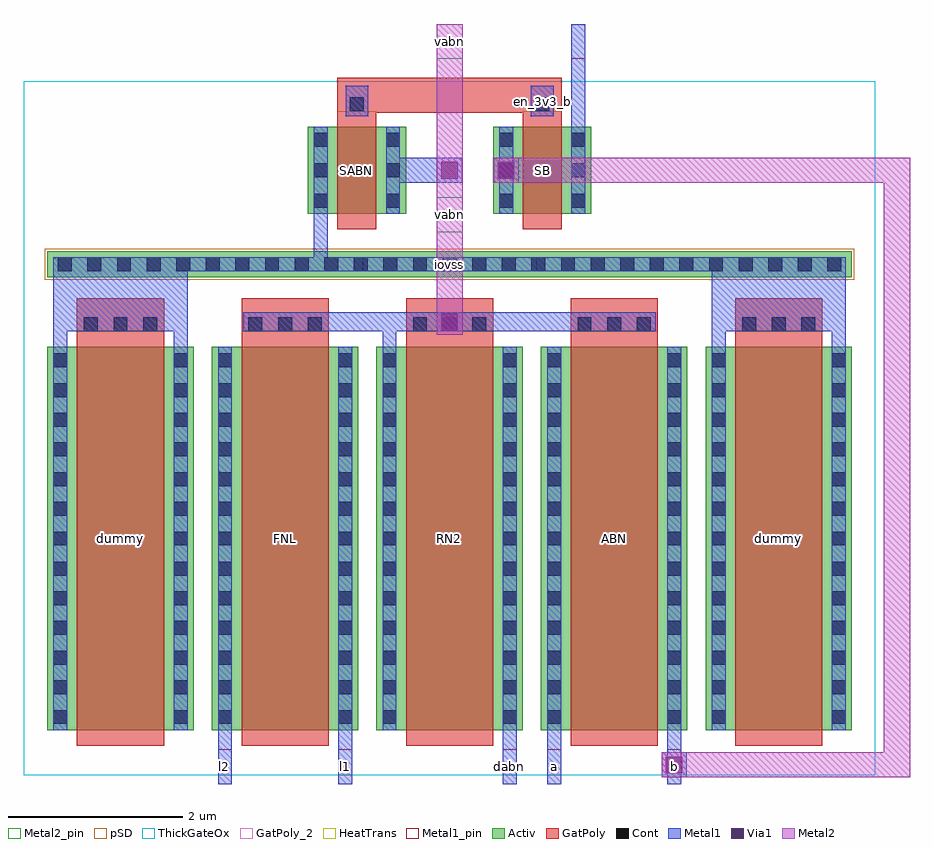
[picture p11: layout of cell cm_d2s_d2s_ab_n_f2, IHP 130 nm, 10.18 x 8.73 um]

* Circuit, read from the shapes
.subckt cm_d2s_d2s_ab_n_f2 a b dabn en_3v3_b iovss l1 l2 vabn
XM1 iovss iovss iovss iovss sg13_hv_nmos w=4.4u l=1u m=2
XM2 l1 vabn l2 iovss sg13_hv_nmos w=4.4u l=1u
XM3 vabn en_3v3_b iovss iovss sg13_hv_nmos w=1u l=0.45u
XM4 dabn vabn vabn iovss sg13_hv_nmos w=4.4u l=1u
XM5 n1 en_3v3_b b iovss sg13_hv_nmos w=1u l=0.45u
XM6 b vabn a iovss sg13_hv_nmos w=4.4u l=1u
.ends

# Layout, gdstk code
import gdstk
lib = gdstk.Library(unit=1e-6, precision=1e-09)
def R(c, l, rs):  # rectangles x0, y0, x1, y1
    for r in rs: c.add(gdstk.rectangle(r[:2], r[2:], *l))
def A(c, l, x, y, w, h, nx, ny, dx, dy):  # array of equal rectangles
    R(c, l, [(x+i*dx, y+j*dy, x+i*dx+w, y+j*dy+h) for i in range(nx) for j in range(ny)])
Activ = (1, 0)
GatPoly = (5, 0)
GatPoly_2 = (5, 2)
Cont = (6, 0)
Metal1 = (8, 0)
Metal1_pin = (8, 2)
Metal2 = (10, 0)
Metal2_pin = (10, 2)
pSD = (14, 0)
Via1 = (19, 0)
ThickGateOx = (44, 0)
HeatTrans = (51, 0)

cm_d2s_nmoshv_1 = lib.new_cell('cm_d2s_nmosHV_1')
R(cm_d2s_nmoshv_1, Activ, [(0,0,0.3,0.3), (0,0,1.13,1), (0.83,0,1.13,0.3)])
R(cm_d2s_nmoshv_1, GatPoly, [(0.34,-0.18,0.79,1.18)])
R(cm_d2s_nmoshv_1, GatPoly_2, [(0.34,-0.18,0.79,1.18)])
A(cm_d2s_nmoshv_1, Cont, 0.07, 0.07, 0.16, 0.16, 1, 3, 0, 0.35)
A(cm_d2s_nmoshv_1, Cont, 0.9, 0.07, 0.16, 0.16, 1, 3, 0, 0.35)
R(cm_d2s_nmoshv_1, Metal1, [(0.07,0,0.23,1), (0.9,0,1.06,1)])
R(cm_d2s_nmoshv_1, Metal1_pin, [(0.07,0,0.23,1), (0.9,0,1.06,1)])
R(cm_d2s_nmoshv_1, ThickGateOx, [(-0.27,-0.52,1.4,1.52)])
R(cm_d2s_nmoshv_1, HeatTrans, [(0.34,-0.18,0.79,1.18)])
cm_d2s_nmoshv_1.add(gdstk.Label('nmosHV', (0.565,0.5), layer=63, texttype=0))
cm_d2s_nmoshv_1.add(gdstk.Label('nmosHV', (0.565,0.5), layer=51, texttype=0))

cm_d2s_nmoshv = lib.new_cell('cm_d2s_nmosHV')
R(cm_d2s_nmoshv, Activ, [(0,0,0.3,0.3), (0,0,1.68,4.4), (1.38,0,1.68,0.3)])
R(cm_d2s_nmoshv, GatPoly, [(0.34,-0.18,1.34,4.58)])
R(cm_d2s_nmoshv, GatPoly_2, [(0.34,-0.18,1.34,4.58)])
A(cm_d2s_nmoshv, Cont, 0.07, 0.07, 0.16, 0.16, 1, 3, 0, 0.34)
A(cm_d2s_nmoshv, Cont, 1.45, 0.07, 0.16, 0.16, 1, 3, 0, 0.34)
A(cm_d2s_nmoshv, Cont, 0.07, 1.095, 0.16, 0.16, 1, 3, 0, 0.34)
A(cm_d2s_nmoshv, Cont, 1.45, 1.095, 0.16, 0.16, 1, 3, 0, 0.34)
A(cm_d2s_nmoshv, Cont, 0.07, 2.12, 0.16, 0.16, 1, 3, 0, 0.34)
A(cm_d2s_nmoshv, Cont, 1.45, 2.12, 0.16, 0.16, 1, 3, 0, 0.34)
A(cm_d2s_nmoshv, Cont, 0.07, 3.145, 0.16, 0.16, 1, 3, 0, 0.34)
A(cm_d2s_nmoshv, Cont, 1.45, 3.145, 0.16, 0.16, 1, 3, 0, 0.34)
R(cm_d2s_nmoshv, Cont, [(0.07,4.17,0.23,4.33), (1.45,4.17,1.61,4.33)])
R(cm_d2s_nmoshv, Metal1, [(0.07,0,0.23,4.4), (1.45,0,1.61,4.4)])
R(cm_d2s_nmoshv, Metal1_pin, [(0.07,0,0.23,4.4), (1.45,0,1.61,4.4)])
R(cm_d2s_nmoshv, ThickGateOx, [(-0.27,-0.52,1.95,4.92)])
R(cm_d2s_nmoshv, HeatTrans, [(0.34,-0.18,1.34,4.58)])
cm_d2s_nmoshv.add(gdstk.Label('nmosHV', (0.84,2.2), layer=63, texttype=0))
cm_d2s_nmoshv.add(gdstk.Label('nmosHV', (0.84,2.2), layer=51, texttype=0))

cm_d2s_d2s_ab_n_f2 = lib.new_cell('cm_d2s_d2s_ab_n_f2')
R(cm_d2s_d2s_ab_n_f2, Activ, [(0,5.2,9.24,5.5)])
A(cm_d2s_d2s_ab_n_f2, GatPoly, 0.34, 4.4, 1, 0.56, 5, 1, 1.89, 0)
R(cm_d2s_d2s_ab_n_f2, GatPoly, [(3.33,6.93,3.78,7.49), (5.46,6.93,5.91,7.49), (3.33,7.09,5.91,7.49)])
A(cm_d2s_d2s_ab_n_f2, Cont, 0.42, 4.58, 0.16, 0.16, 3, 1, 0.34, 0)
A(cm_d2s_d2s_ab_n_f2, Cont, 2.31, 4.58, 0.16, 0.16, 3, 1, 0.34, 0)
A(cm_d2s_d2s_ab_n_f2, Cont, 4.2, 4.58, 0.16, 0.16, 3, 1, 0.34, 0)
A(cm_d2s_d2s_ab_n_f2, Cont, 6.09, 4.58, 0.16, 0.16, 3, 1, 0.34, 0)
A(cm_d2s_d2s_ab_n_f2, Cont, 7.98, 4.58, 0.16, 0.16, 3, 1, 0.34, 0)
A(cm_d2s_d2s_ab_n_f2, Cont, 0.12, 5.27, 0.16, 0.16, 27, 1, 0.34, 0)
R(cm_d2s_d2s_ab_n_f2, Cont, [(3.475,7.11,3.635,7.27), (5.605,7.11,5.765,7.27)])
R(cm_d2s_d2s_ab_n_f2, Metal1, [(1.96,-0.62,2.12,0), (3.34,-0.62,3.5,0), (5.23,-0.62,5.39,0), (5.74,-0.62,5.9,0), (7.12,-0.62,7.28,0), (7.055,-0.545,7.345,-0.255), (0.07,4.4,0.23,5.2), (1.45,4.4,1.61,5.2), (3.85,4.4,4.01,4.58), (7.63,4.4,7.79,5.2), (9.01,4.4,9.17,5.2), (0.07,4.58,1.61,5.43), (2.25,4.58,6.99,4.8), (7.63,4.58,9.17,5.43), (0.07,5.27,9.17,5.43), (3.06,5.27,3.22,5.93), (3.89,6.285,4.765,6.575), (5.125,6.285,5.415,6.575), (6.02,6.93,6.18,8.11), (3.425,7.05,3.685,7.4), (5.555,7.05,5.815,7.4)])
R(cm_d2s_d2s_ab_n_f2, Metal1_pin, [(1.96,-0.62,2.12,-0.22), (3.34,-0.62,3.5,-0.22), (5.23,-0.62,5.39,-0.22), (5.74,-0.62,5.9,-0.22), (7.12,-0.62,7.28,-0.22), (3.62,5.27,5.62,5.43), (5.555,7.05,5.815,7.4), (6.02,7.71,6.18,8.11)])
R(cm_d2s_d2s_ab_n_f2, Metal2, [(7.055,-0.545,9.91,-0.255), (9.61,-0.545,9.91,6.575), (4.47,4.54,4.77,6.12), (4.47,5.5,4.77,8.11), (5.125,6.285,9.91,6.575)])
R(cm_d2s_d2s_ab_n_f2, Metal2_pin, [(4.47,5.72,4.77,6.12), (4.47,7.71,4.77,8.11)])
R(cm_d2s_d2s_ab_n_f2, pSD, [(-0.03,5.17,9.27,5.53)])
R(cm_d2s_d2s_ab_n_f2, Via1, [(7.105,-0.495,7.295,-0.305), (4.525,4.595,4.715,4.785), (4.525,6.335,4.715,6.525), (5.175,6.335,5.365,6.525)])
R(cm_d2s_d2s_ab_n_f2, ThickGateOx, [(-0.27,-0.52,9.51,7.45), (-0.27,-0.27,9.51,5.77), (-0.27,-0.27,9.51,7.2)])
cm_d2s_d2s_ab_n_f2.add(gdstk.Reference(cm_d2s_nmoshv_1, (2.99,5.93)))
cm_d2s_d2s_ab_n_f2.add(gdstk.Reference(cm_d2s_nmoshv_1, (5.12,5.93)))
cm_d2s_d2s_ab_n_f2.add(gdstk.Reference(cm_d2s_nmoshv, (0,0)))
cm_d2s_d2s_ab_n_f2.add(gdstk.Reference(cm_d2s_nmoshv, (1.89,0)))
cm_d2s_d2s_ab_n_f2.add(gdstk.Reference(cm_d2s_nmoshv, (3.78,0)))
cm_d2s_d2s_ab_n_f2.add(gdstk.Reference(cm_d2s_nmoshv, (5.67,0)))
cm_d2s_d2s_ab_n_f2.add(gdstk.Reference(cm_d2s_nmoshv, (7.56,0)))
cm_d2s_d2s_ab_n_f2.add(gdstk.Label('dummy', (0.84,2.2), layer=63, texttype=0))
cm_d2s_d2s_ab_n_f2.add(gdstk.Label('FNL', (2.73,2.2), layer=63, texttype=0))
cm_d2s_d2s_ab_n_f2.add(gdstk.Label('RN2', (4.62,2.2), layer=63, texttype=0))
cm_d2s_d2s_ab_n_f2.add(gdstk.Label('ABN', (6.51,2.2), layer=63, texttype=0))
cm_d2s_d2s_ab_n_f2.add(gdstk.Label('dummy', (8.4,2.2), layer=63, texttype=0))
cm_d2s_d2s_ab_n_f2.add(gdstk.Label('SABN', (3.555,6.43), layer=63, texttype=0))
cm_d2s_d2s_ab_n_f2.add(gdstk.Label('SB', (5.685,6.43), layer=63, texttype=0))
cm_d2s_d2s_ab_n_f2.add(gdstk.Label('vabn', (4.62,5.92), layer=10, texttype=25))
cm_d2s_d2s_ab_n_f2.add(gdstk.Label('vabn', (4.62,7.91), layer=10, texttype=25))
cm_d2s_d2s_ab_n_f2.add(gdstk.Label('iovss', (4.62,5.35), layer=8, texttype=25))
cm_d2s_d2s_ab_n_f2.add(gdstk.Label('l2', (2.04,-0.42), layer=8, texttype=25))
cm_d2s_d2s_ab_n_f2.add(gdstk.Label('l1', (3.42,-0.42), layer=8, texttype=25))
cm_d2s_d2s_ab_n_f2.add(gdstk.Label('dabn', (5.31,-0.42), layer=8, texttype=25))
cm_d2s_d2s_ab_n_f2.add(gdstk.Label('a', (5.82,-0.42), layer=8, texttype=25))
cm_d2s_d2s_ab_n_f2.add(gdstk.Label('b', (7.2,-0.42), layer=8, texttype=25))
cm_d2s_d2s_ab_n_f2.add(gdstk.Label('en_3v3_b', (5.685,7.225), layer=8, texttype=25))

lib.write_gds('cm_d2s_d2s_ab_n_f2.gds')
